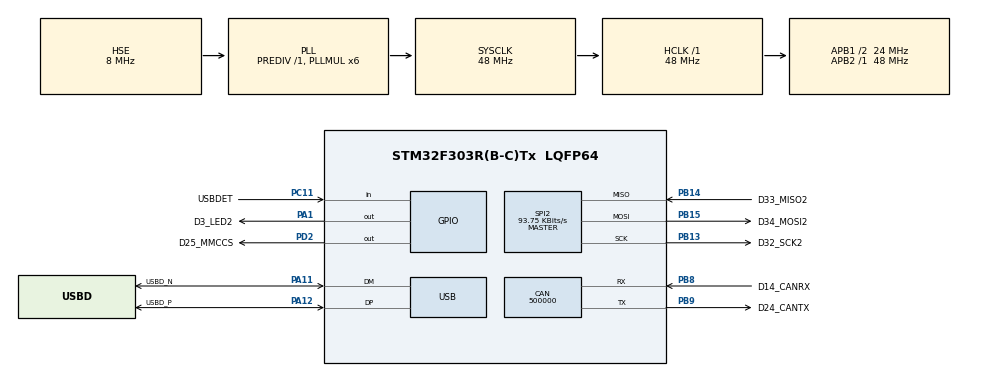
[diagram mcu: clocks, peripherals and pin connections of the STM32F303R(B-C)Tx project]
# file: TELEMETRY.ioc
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CAN.CalculateBaudRate=500000
CAN.CalculateTimeBit=2000
CAN.CalculateTimeQuantum=666.6666666666666
Mcu.Family=STM32F3
Mcu.Name=STM32F303R(B-C)Tx
Mcu.Package=LQFP64
NVIC.PriorityGroup=NVIC_PRIORITYGROUP_4
PA1.GPIO_Label=D3_LED2
PA1.Signal=GPIO_Output
PA11.GPIO_Label=USBD_N
PA11.Mode=Device
PA11.Signal=USB_DM
PA12.GPIO_Label=USBD_P
PA12.Mode=Device
PA12.Signal=USB_DP
PA13.GPIO_Label=TMS_SWDIO
PA13.Mode=Serial_Wire
PA13.Signal=SYS_JTMS-SWDIO
PA14.GPIO_Label=TCK_SWCLK
PA14.Mode=Serial_Wire
PA14.Signal=SYS_JTCK-SWCLK
PB10.GPIO_Label=D29_USART3TX
PB10.Signal=USART3_TX
PB11.GPIO_Label=D30_USART3RX
PB11.Signal=USART3_RX
PB13.GPIO_Label=D32_SCK2
PB13.Mode=Full_Duplex_Master
PB13.Signal=SPI2_SCK
PB14.GPIO_Label=D33_MISO2
PB14.Mode=Full_Duplex_Master
PB14.Signal=SPI2_MISO
PB15.GPIO_Label=D34_MOSI2
PB15.Mode=Full_Duplex_Master
PB15.Signal=SPI2_MOSI
PB3.GPIO_Label=TDO_SWO
PB3.Signal=SYS_JTDO-TRACESWO
PB8.GPIO_Label=D14_CANRX
PB8.Mode=CAN_Activate
PB8.Signal=CAN_RX
PB8.Stacked=true
PB9.GPIO_Label=D24_CANTX
PB9.Mode=CAN_Activate
PB9.Signal=CAN_TX
PC11.GPIO_Label=USBDET
PC11.Signal=GPIO_Input
PC14-OSC32_IN.Mode=LSE-External-Oscillator
PC14-OSC32_IN.Signal=RCC_OSC32_IN
PC15-OSC32_OUT.Mode=LSE-External-Oscillator
PC15-OSC32_OUT.Signal=RCC_OSC32_OUT
PD2.GPIO_Label=D25_MMCCS 
PD2.Signal=GPIO_Output
PF0-OSC_IN.Mode=HSE-External-Oscillator
PF0-OSC_IN.Signal=RCC_OSC_IN
PF1-OSC_OUT.Mode=HSE-External-Oscillator
PF1-OSC_OUT.Signal=RCC_OSC_OUT
ProjectManager.HeapSize=0x200
ProjectManager.StackSize=0x400
ProjectManager.TargetToolchain=CMake
RCC.AHBFreq_Value=48000000
RCC.APB1CLKDivider=RCC_HCLK_DIV2
RCC.APB1Freq_Value=24000000
RCC.APB1TimFreq_Value=48000000
RCC.APB2Freq_Value=48000000
RCC.APB2TimFreq_Value=48000000
RCC.CortexFreq_Value=48000000
RCC.EnbaleCSS=true
RCC.HCLKFreq_Value=48000000
RCC.HSE_VALUE=8000000
RCC.HSI_VALUE=8000000
RCC.PLLMUL=RCC_PLL_MUL6
RCC.RTCClockSelection=RCC_RTCCLKSOURCE_LSE
RCC.SYSCLKFreq_VALUE=48000000
RCC.SYSCLKSourceVirtual=RCC_SYSCLKSOURCE_PLLCLK
RCC.USBFreq_Value=48000000
SPI2.BaudRatePrescaler=SPI_BAUDRATEPRESCALER_256
SPI2.CalculateBaudRate=93.75 KBits/s
SPI2.DataSize=SPI_DATASIZE_8BIT
SPI2.Direction=SPI_DIRECTION_2LINES
SPI2.Mode=SPI_MODE_MASTER
SPI2.VirtualType=VM_MASTER
VP_FATFS_VS_Generic.Mode=User_defined
VP_RTC_VS_RTC_Activate.Mode=RTC_Enabled
board=custom

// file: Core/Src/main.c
/* USER CODE BEGIN Header */
/**
  ******************************************************************************
  * @file           : main.c
  * @brief          : Main program body
  ******************************************************************************
  * @attention
  *
  * Copyright (c) 2026 STMicroelectronics.
  * All rights reserved.
  *
  * This software is licensed under terms that can be found in the LICENSE file
  * in the root directory of this software component.
  * If no LICENSE file comes with this software, it is provided AS-IS.
  *
  ******************************************************************************
  */
/* USER CODE END Header */
#include "main.h"
#include "fatfs.h"

CAN_HandleTypeDef hcan;

RTC_HandleTypeDef hrtc;

SPI_HandleTypeDef hspi2;

PCD_HandleTypeDef hpcd_USB_FS;

void SystemClock_Config(void);
static void MX_GPIO_Init(void);
static void MX_CAN_Init(void);
static void MX_RTC_Init(void);
static void MX_USB_PCD_Init(void);
static void MX_SPI2_Init(void);
/* USER CODE BEGIN PFP */

uint8_t WriteToSDCard(char* file_name, char* data, uint32_t length);
/* USER CODE END PFP */

int main(void)
{

  /* MCU Configuration--------------------------------------------------------*/

  /* Reset of all peripherals, Initializes the Flash interface and the Systick. */
  HAL_Init();

  /* Configure the system clock */
  SystemClock_Config();

  /* Initialize all configured peripherals */
  MX_GPIO_Init();
  MX_CAN_Init();
  MX_RTC_Init();
  MX_USB_PCD_Init();
  MX_SPI2_Init();
  MX_FATFS_Init();
  /* USER CODE BEGIN 2 */
  HAL_GPIO_WritePin(D3_LED2_GPIO_Port, D3_LED2_Pin, GPIO_PIN_RESET); //turn off the LED for check
  FATFS SD_fatfs_h;		/* File system object for SD card logical drive */
  TCHAR driver_path[4]  = "0:";	/* SD card logical drive path */
  FRESULT result;
  uint8_t function_result;
  /*parameter definitions:
  f_mount(FATFS *fs, const TCHAR *path, BYTE opt)
  fs: Pointer to the file system object (FATFS) to be registered
  const TCHAR *path: Logical drive path (e.g. "0:")
  BYTE opt: 0=Do not mount now, 1=Mount now
  */

  result = f_mount(&SD_fatfs_h, (TCHAR const*)driver_path, 1);	/* Give a work area to the default drive */
  if (result != FR_OK) {
    /* If the SD card is not mounted successfully, handle the error */
    Error_Handler();
  }

  function_result = WriteToSDCard("test.csv", "Hello, World!", 13);

  if (!function_result) {
    /* If writing to the SD card failed, handle the error */
    Error_Handler();
  }

  HAL_GPIO_WritePin(D3_LED2_GPIO_Port, D3_LED2_Pin, GPIO_PIN_SET); //turn on the LED for check
  /* USER CODE END 2 */

  /* Infinite loop */
  while (1)
  {

  }
}

void SystemClock_Config(void)
{
  RCC_OscInitTypeDef RCC_OscInitStruct = {0};
  RCC_ClkInitTypeDef RCC_ClkInitStruct = {0};
  RCC_PeriphCLKInitTypeDef PeriphClkInit = {0};

  /** Configure LSE Drive Capability
  */
  HAL_PWR_EnableBkUpAccess();
  __HAL_RCC_LSEDRIVE_CONFIG(RCC_LSEDRIVE_LOW);

  /** Initializes the RCC Oscillators according to the specified parameters
  * in the RCC_OscInitTypeDef structure.
  */
  RCC_OscInitStruct.OscillatorType = RCC_OSCILLATORTYPE_HSE|RCC_OSCILLATORTYPE_LSE;
  RCC_OscInitStruct.HSEState = RCC_HSE_ON;
  RCC_OscInitStruct.HSEPredivValue = RCC_HSE_PREDIV_DIV1;
  RCC_OscInitStruct.LSEState = RCC_LSE_ON;
  RCC_OscInitStruct.HSIState = RCC_HSI_ON;
  RCC_OscInitStruct.PLL.PLLState = RCC_PLL_ON;
  RCC_OscInitStruct.PLL.PLLSource = RCC_PLLSOURCE_HSE;
  RCC_OscInitStruct.PLL.PLLMUL = RCC_PLL_MUL6;
  if (HAL_RCC_OscConfig(&RCC_OscInitStruct) != HAL_OK)
  {
    Error_Handler();
  }

  /** Initializes the CPU, AHB and APB buses clocks
  */
  RCC_ClkInitStruct.ClockType = RCC_CLOCKTYPE_HCLK|RCC_CLOCKTYPE_SYSCLK
                              |RCC_CLOCKTYPE_PCLK1|RCC_CLOCKTYPE_PCLK2;
  RCC_ClkInitStruct.SYSCLKSource = RCC_SYSCLKSOURCE_PLLCLK;
  RCC_ClkInitStruct.AHBCLKDivider = RCC_SYSCLK_DIV1;
  RCC_ClkInitStruct.APB1CLKDivider = RCC_HCLK_DIV2;
  RCC_ClkInitStruct.APB2CLKDivider = RCC_HCLK_DIV1;

  if (HAL_RCC_ClockConfig(&RCC_ClkInitStruct, FLASH_LATENCY_1) != HAL_OK)
  {
    Error_Handler();
  }
  PeriphClkInit.PeriphClockSelection = RCC_PERIPHCLK_USB|RCC_PERIPHCLK_RTC;
  PeriphClkInit.RTCClockSelection = RCC_RTCCLKSOURCE_LSE;
  PeriphClkInit.USBClockSelection = RCC_USBCLKSOURCE_PLL;
  if (HAL_RCCEx_PeriphCLKConfig(&PeriphClkInit) != HAL_OK)
  {
    Error_Handler();
  }

  /** Enables the Clock Security System
  */
  HAL_RCC_EnableCSS();
}

static void MX_CAN_Init(void)
{

  hcan.Instance = CAN;
  hcan.Init.Prescaler = 16;
  hcan.Init.Mode = CAN_MODE_NORMAL;
  hcan.Init.SyncJumpWidth = CAN_SJW_1TQ;
  hcan.Init.TimeSeg1 = CAN_BS1_1TQ;
  hcan.Init.TimeSeg2 = CAN_BS2_1TQ;
  hcan.Init.TimeTriggeredMode = DISABLE;
  hcan.Init.AutoBusOff = DISABLE;
  hcan.Init.AutoWakeUp = DISABLE;
  hcan.Init.AutoRetransmission = DISABLE;
  hcan.Init.ReceiveFifoLocked = DISABLE;
  hcan.Init.TransmitFifoPriority = DISABLE;
  if (HAL_CAN_Init(&hcan) != HAL_OK)
  {
    Error_Handler();
  }

}

static void MX_RTC_Init(void)
{

  /** Initialize RTC Only
  */
  hrtc.Instance = RTC;
  hrtc.Init.HourFormat = RTC_HOURFORMAT_24;
  hrtc.Init.AsynchPrediv = 127;
  hrtc.Init.SynchPrediv = 255;
  hrtc.Init.OutPut = RTC_OUTPUT_DISABLE;
  hrtc.Init.OutPutPolarity = RTC_OUTPUT_POLARITY_HIGH;
  hrtc.Init.OutPutType = RTC_OUTPUT_TYPE_OPENDRAIN;
  if (HAL_RTC_Init(&hrtc) != HAL_OK)
  {
    Error_Handler();
  }

}

static void MX_SPI2_Init(void)
{

  /* SPI2 parameter configuration*/
  hspi2.Instance = SPI2;
  hspi2.Init.Mode = SPI_MODE_MASTER;
  hspi2.Init.Direction = SPI_DIRECTION_2LINES;
  hspi2.Init.DataSize = SPI_DATASIZE_8BIT;
  hspi2.Init.CLKPolarity = SPI_POLARITY_LOW;
  hspi2.Init.CLKPhase = SPI_PHASE_1EDGE;
  hspi2.Init.NSS = SPI_NSS_SOFT;
  hspi2.Init.BaudRatePrescaler = SPI_BAUDRATEPRESCALER_256;
  hspi2.Init.FirstBit = SPI_FIRSTBIT_MSB;
  hspi2.Init.TIMode = SPI_TIMODE_DISABLE;
  hspi2.Init.CRCCalculation = SPI_CRCCALCULATION_DISABLE;
  hspi2.Init.CRCPolynomial = 7;
  hspi2.Init.CRCLength = SPI_CRC_LENGTH_DATASIZE;
  hspi2.Init.NSSPMode = SPI_NSS_PULSE_ENABLE;
  if (HAL_SPI_Init(&hspi2) != HAL_OK)
  {
    Error_Handler();
  }

}

static void MX_USB_PCD_Init(void)
{

  hpcd_USB_FS.Instance = USB;
  hpcd_USB_FS.Init.dev_endpoints = 8;
  hpcd_USB_FS.Init.speed = PCD_SPEED_FULL;
  hpcd_USB_FS.Init.phy_itface = PCD_PHY_EMBEDDED;
  hpcd_USB_FS.Init.low_power_enable = DISABLE;
  hpcd_USB_FS.Init.battery_charging_enable = DISABLE;
  if (HAL_PCD_Init(&hpcd_USB_FS) != HAL_OK)
  {
    Error_Handler();
  }

}

static void MX_GPIO_Init(void)
{
  GPIO_InitTypeDef GPIO_InitStruct = {0};

  /* GPIO Ports Clock Enable */
  __HAL_RCC_GPIOC_CLK_ENABLE();
  __HAL_RCC_GPIOF_CLK_ENABLE();
  __HAL_RCC_GPIOA_CLK_ENABLE();
  __HAL_RCC_GPIOB_CLK_ENABLE();
  __HAL_RCC_GPIOD_CLK_ENABLE();

  /*Configure GPIO pin Output Level */
  HAL_GPIO_WritePin(D3_LED2_GPIO_Port, D3_LED2_Pin, GPIO_PIN_RESET);

  /*Configure GPIO pin Output Level */
  HAL_GPIO_WritePin(D25_MMCCS_GPIO_Port, D25_MMCCS_Pin, GPIO_PIN_SET);

  /*Configure GPIO pin : D3_LED2_Pin */
  GPIO_InitStruct.Pin = D3_LED2_Pin;
  GPIO_InitStruct.Mode = GPIO_MODE_OUTPUT_PP;
  GPIO_InitStruct.Pull = GPIO_NOPULL;
  GPIO_InitStruct.Speed = GPIO_SPEED_FREQ_LOW;
  HAL_GPIO_Init(D3_LED2_GPIO_Port, &GPIO_InitStruct);

  /*Configure GPIO pins : D29_USART3TX_Pin D30_USART3RX_Pin */
  GPIO_InitStruct.Pin = D29_USART3TX_Pin|D30_USART3RX_Pin;
  GPIO_InitStruct.Mode = GPIO_MODE_AF_PP;
  GPIO_InitStruct.Pull = GPIO_NOPULL;
  GPIO_InitStruct.Speed = GPIO_SPEED_FREQ_HIGH;
  GPIO_InitStruct.Alternate = GPIO_AF7_USART3;
  HAL_GPIO_Init(GPIOB, &GPIO_InitStruct);

  /*Configure GPIO pin : USBDET_Pin */
  GPIO_InitStruct.Pin = USBDET_Pin;
  GPIO_InitStruct.Mode = GPIO_MODE_INPUT;
  GPIO_InitStruct.Pull = GPIO_NOPULL;
  HAL_GPIO_Init(USBDET_GPIO_Port, &GPIO_InitStruct);

  /*Configure GPIO pin : D25_MMCCS_Pin */
  GPIO_InitStruct.Pin = D25_MMCCS_Pin;
  GPIO_InitStruct.Mode = GPIO_MODE_OUTPUT_PP;
  GPIO_InitStruct.Pull = GPIO_NOPULL;
  GPIO_InitStruct.Speed = GPIO_SPEED_FREQ_LOW;
  HAL_GPIO_Init(D25_MMCCS_GPIO_Port, &GPIO_InitStruct);

}

/* USER CODE BEGIN 4 */
uint8_t WriteToSDCard(char* filename, char* data, uint32_t length) {
  FRESULT result;
  FIL file;
  uint32_t bytes_written;
  char test_file_path[256];

  snprintf(test_file_path, sizeof(test_file_path), "0:/%s", filename); // Assuming the SD card is mounted as drive 0

  result = f_open(&file, test_file_path, FA_WRITE | FA_CREATE_ALWAYS); // Open the file for writing
  if (result != FR_OK) {
    // Handle error
    return 0;
  }

  f_write(&file, data, length, &bytes_written); // Write data to the file
  f_close(&file); // Close the file
  f_mount(NULL, "0:", 1); // Unmount the SD card

  return 1;
}
/* USER CODE END 4 */

void Error_Handler(void)
{
  /* USER CODE BEGIN Error_Handler_Debug */
  /* User can add his own implementation to report the HAL error return state */
  __disable_irq();
  while (1)
  {
    HAL_GPIO_TogglePin(D3_LED2_GPIO_Port, D3_LED2_Pin);
    HAL_Delay(200);
  }
  /* USER CODE END Error_Handler_Debug */
}
